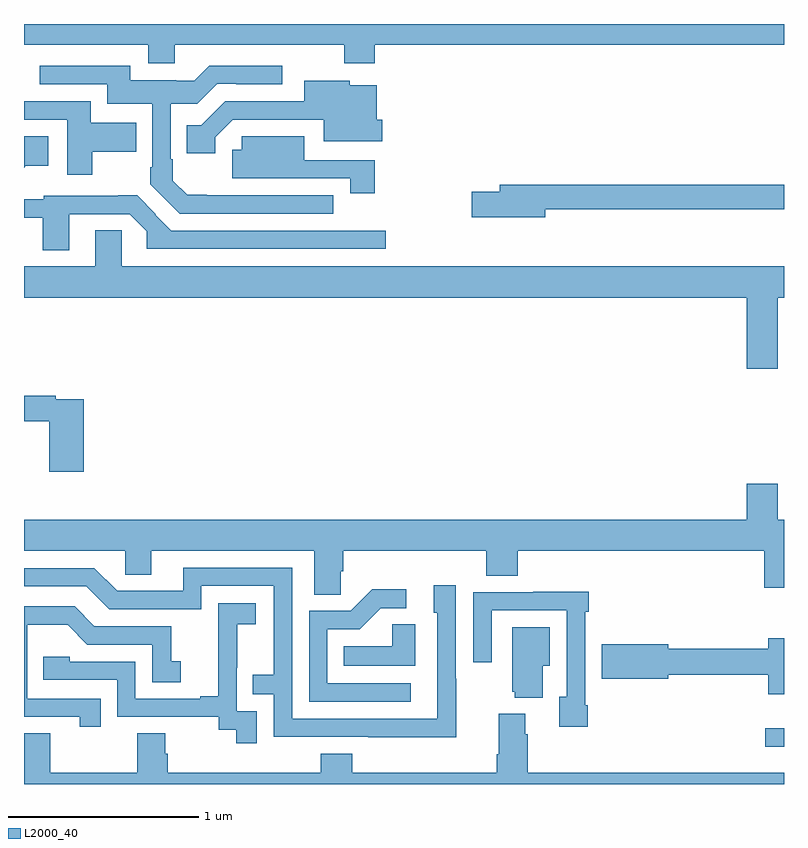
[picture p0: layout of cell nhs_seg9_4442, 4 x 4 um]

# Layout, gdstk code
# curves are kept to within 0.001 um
import gdstk
lib = gdstk.Library(unit=1e-6, precision=1e-09)
def R(c, l, rs):  # rectangles x0, y0, x1, y1
    for r in rs: c.add(gdstk.rectangle(r[:2], r[2:], *l))
def P(c, l, *ps):  # polygons
    for p in ps: c.add(gdstk.Polygon(p, *l))
L2000_40 = (2000, 40)

nhs_seg9_4442 = lib.new_cell('nhs_seg9_4442')
R(nhs_seg9_4442, L2000_40, [(368.901,1220.696,369,1220.793)])
P(nhs_seg9_4442, L2000_40, [(365.794,1224.392),(366.685,1224.392),(366.685,1224.293),(366.845,1224.293),(366.845,1224.392),(369,1224.392),(369,1224.5),(365,1224.5),(365,1224.392),(365.654,1224.392),(365.654,1224.293),(365.794,1224.293)],
  [(366.628,1223.598),(365.962,1223.598),(365.962,1223.601),(365.858,1223.601),(365.782,1223.676),(365.782,1223.788),(365.772,1223.788),(365.772,1224.081),(365.913,1224.081),(366.018,1224.186),(366.118,1224.186),(366.118,1224.183),(366.358,1224.183),(366.358,1224.28),(365.974,1224.28),(365.895,1224.201),(365.801,1224.201),(365.801,1224.205),(365.56,1224.205),(365.56,1224.279),(365.082,1224.279),(365.082,1224.183),(365.438,1224.183),(365.438,1224.08),(365.676,1224.08),(365.676,1223.746),(365.664,1223.746),(365.664,1223.657),(365.819,1223.502),(366.628,1223.502)],
  [(366.007,1223.905),(366.099,1223.997),(366.578,1223.997),(366.578,1223.882),(366.886,1223.882),(366.886,1223.996),(366.856,1223.996),(366.856,1224.178),(366.714,1224.178),(366.714,1224.202),(366.476,1224.202),(366.476,1224.093),(366.059,1224.093),(365.934,1223.968),(365.857,1223.968),(365.857,1223.82),(366.007,1223.82)],
  [(365.358,1223.828),(365.591,1223.828),(365.591,1223.98),(365.35,1223.98),(365.35,1224.093),(365,1224.093),(365,1223.997),(365.228,1223.997),(365.228,1223.706),(365.358,1223.706)],
  [(365.01,1223.753),(365.128,1223.753),(365.128,1223.908),(365,1223.908),(365,1223.743)],
  [(366.847,1223.784),(366.475,1223.784),(366.475,1223.908),(366.146,1223.908),(366.146,1223.838),(366.095,1223.838),(366.095,1223.687),(366.371,1223.687),(366.371,1223.688),(366.716,1223.688),(366.716,1223.61),(366.847,1223.61)],
  [(367.744,1223.526),(369,1223.526),(369,1223.654),(367.505,1223.654),(367.505,1223.618),(367.356,1223.618),(367.356,1223.483),(367.744,1223.483)],
  [(365.239,1223.499),(365.556,1223.499),(365.647,1223.409),(365.647,1223.316),(366.904,1223.316),(366.904,1223.412),(365.775,1223.412),(365.69,1223.497),(365.693,1223.5),(365.595,1223.598),(365.495,1223.598),(365.495,1223.595),(365.103,1223.595),(365.103,1223.577),(365,1223.577),(365,1223.481),(365.099,1223.481),(365.099,1223.31),(365.239,1223.31)],
  [(368.968,1223.06),(369,1223.06),(369,1223.224),(365.514,1223.224),(365.514,1223.414),(365.375,1223.414),(365.375,1223.224),(365,1223.224),(365,1223.06),(368.804,1223.06),(368.804,1222.686),(368.968,1222.686)],
  [(365.315,1222.524),(365.168,1222.524),(365.168,1222.544),(365,1222.544),(365,1222.408),(365.132,1222.408),(365.132,1222.143),(365.315,1222.143)],
  [(366.666,1221.619),(366.68,1221.619),(366.68,1221.728),(367.433,1221.728),(367.433,1221.595),(367.598,1221.595),(367.598,1221.728),(368.897,1221.728),(368.897,1221.534),(369,1221.534),(369,1221.892),(368.968,1221.892),(368.968,1222.081),(368.804,1222.081),(368.804,1221.892),(365,1221.892),(365,1221.728),(365.532,1221.728),(365.532,1221.601),(365.671,1221.601),(365.671,1221.728),(366.527,1221.728),(366.527,1221.496),(366.666,1221.496)],
  [(367.275,1221.053),(367.272,1221.053),(367.272,1221.547),(367.157,1221.547),(367.157,1221.402),(367.176,1221.402),(367.176,1220.844),(366.411,1220.844),(366.411,1221.639),(365.837,1221.639),(365.837,1221.516),(365.49,1221.516),(365.37,1221.636),(365,1221.636),(365,1221.54),(365.328,1221.54),(365.448,1221.42),(365.934,1221.42),(365.934,1221.543),(366.315,1221.543),(366.315,1221.074),(366.205,1221.074),(366.205,1220.973),(366.315,1220.973),(366.315,1220.748),(367.275,1220.747)],
  [(367.036,1221.03),(366.597,1221.03),(366.597,1221.315),(366.766,1221.315),(366.877,1221.426),(367.012,1221.426),(367.012,1221.524),(366.833,1221.524),(366.72,1221.411),(366.501,1221.411),(366.501,1220.934),(367.036,1220.934)],
  [(367.966,1220.914),(367.953,1220.914),(367.953,1221.407),(367.973,1221.407),(367.973,1221.512),(367.681,1221.512),(367.681,1221.51),(367.365,1221.51),(367.365,1221.141),(367.461,1221.141),(367.461,1221.414),(367.857,1221.414),(367.857,1220.958),(367.817,1220.958),(367.817,1220.802),(367.966,1220.802)],
  [(366.225,1220.883),(366.12,1220.883),(366.12,1221.113),(366.122,1221.113),(366.122,1221.341),(366.22,1221.341),(366.22,1221.451),(366.022,1221.451),(366.022,1221.245),(366.023,1221.245),(366.023,1220.962),(365.927,1220.962),(365.927,1220.949),(365.586,1220.949),(365.586,1221.144),(365.241,1221.144),(365.241,1221.171),(365.101,1221.171),(365.101,1221.048),(365.49,1221.048),(365.49,1220.853),(366.024,1220.853),(366.024,1220.785),(366.117,1220.785),(366.117,1220.715),(366.225,1220.715)],
  [(365.405,1220.949),(365.016,1220.949),(365.016,1221.338),(365.23,1221.338),(365.334,1221.234),(365.676,1221.234),(365.676,1221.036),(365.824,1221.036),(365.824,1221.145),(365.775,1221.145),(365.775,1221.33),(365.371,1221.33),(365.266,1221.435),(365,1221.435),(365,1220.853),(365.294,1220.853),(365.294,1220.802),(365.405,1220.802)],
  [(367.06,1221.341),(366.939,1221.341),(366.939,1221.226),(366.682,1221.226),(366.682,1221.122),(367.06,1221.122)],
  [(367.729,1221.122),(367.768,1221.122),(367.768,1221.325),(367.571,1221.325),(367.571,1220.985),(367.583,1220.985),(367.583,1220.954),(367.729,1220.954)],
  [(369,1221.268),(368.918,1221.268),(368.918,1221.212),(368.392,1221.212),(368.392,1221.236),(368.04,1221.236),(368.04,1221.053),(368.392,1221.053),(368.392,1221.076),(368.918,1221.076),(368.918,1220.972),(369,1220.972)],
  [(369,1220.56),(367.652,1220.56),(367.652,1220.762),(367.639,1220.762),(367.639,1220.869),(367.499,1220.869),(367.499,1220.656),(367.487,1220.656),(367.487,1220.56),(366.728,1220.56),(366.728,1220.659),(366.563,1220.659),(366.563,1220.56),(365.756,1220.56),(365.756,1220.658),(365.743,1220.658),(365.743,1220.768),(365.596,1220.768),(365.596,1220.56),(365.139,1220.56),(365.139,1220.768),(365,1220.768),(365,1220.5),(369,1220.5)])

lib.write_gds('nhs_seg9_4442.gds')
